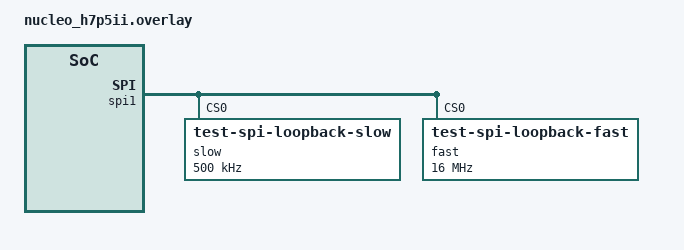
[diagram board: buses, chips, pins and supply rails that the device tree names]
/*
 * Copyright (c) 2026 STMicroelectronics
 *
 * SPDX-License-Identifier: Apache-2.0
 */

/*
 * SPI1 is left unconfigured, so it uses its bus clock as kernel clock.
 * Slow down the APB2 bus on which SPI1 resides to ensure that the internal
 * prescaler values necessary to operate at the SPI bus frequencies this test
 * exercises are not larger than the maximum allowed.
 */
&rcc {
	ppre2 = <4>;
};

&spi1 {
	slow@0 {
		compatible = "test-spi-loopback-slow";
		reg = <0>;
		spi-max-frequency = <DT_FREQ_K(500)>;
	};

	fast@0 {
		compatible = "test-spi-loopback-fast";
		reg = <0>;
		spi-max-frequency = <DT_FREQ_M(16)>;
	};
};
